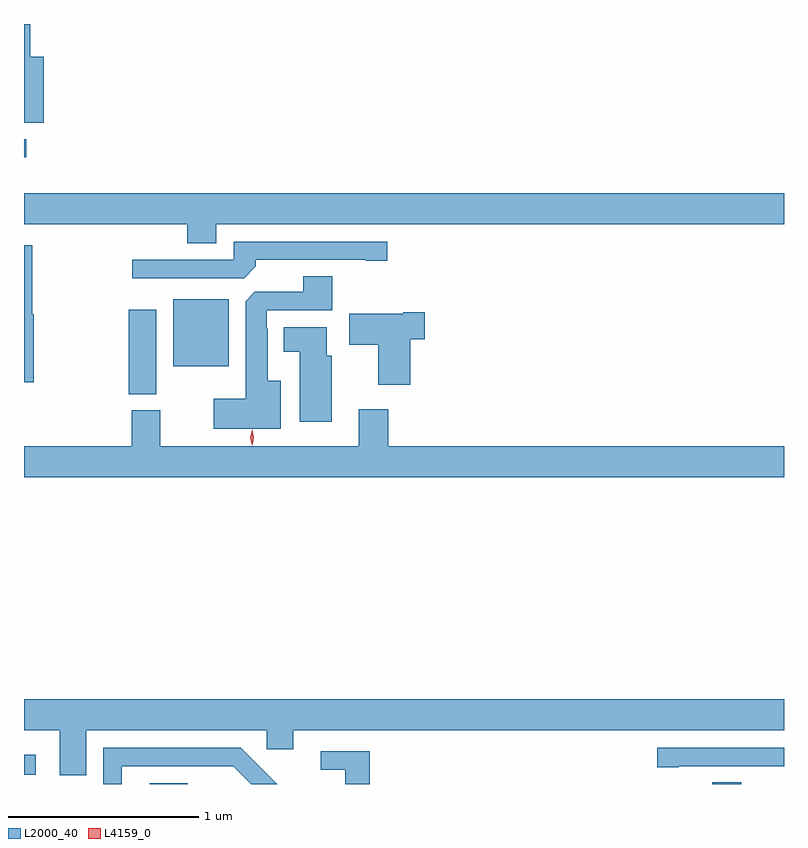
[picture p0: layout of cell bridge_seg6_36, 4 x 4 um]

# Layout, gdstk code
import gdstk
lib = gdstk.Library(unit=1e-6, precision=1e-09)
def R(c, l, rs):  # rectangles x0, y0, x1, y1
    for r in rs: c.add(gdstk.rectangle(r[:2], r[2:], *l))
def P(c, l, *ps):  # polygons
    for p in ps: c.add(gdstk.Polygon(p, *l))
L2000_40 = (2000, 40)
L4159_0 = (4159, 0)

bridge_seg6_36 = lib.new_cell('bridge_seg6_36')
R(bridge_seg6_36, L2000_40, [(1094.754,984.35,1094.952,984.354), (1097.714,984.35,1097.866,984.359), (1094.091,984.399,1094.152,984.505), (1094.642,986.401,1094.788,986.845), (1094.876,986.549,1095.169,986.902), (1094.091,987.648,1094.104,987.744)])
P(bridge_seg6_36, L2000_40, [(1094.195,988.177),(1094.123,988.177),(1094.123,988.35),(1094.091,988.35),(1094.091,987.829),(1094.195,987.829)],
  [(1095.103,987.296),(1098.091,987.296),(1098.091,987.46),(1094.091,987.46),(1094.091,987.296),(1094.951,987.296),(1094.951,987.197),(1095.103,987.197)],
  [(1095.311,987.074),(1095.311,987.108),(1095.89,987.108),(1095.89,987.103),(1096.003,987.103),(1096.003,987.204),(1095.195,987.204),(1095.195,987.108),(1094.661,987.108),(1094.661,987.012),(1095.249,987.012)],
  [(1094.141,986.823),(1094.135,986.823),(1094.135,987.186),(1094.091,987.186),(1094.091,986.465),(1094.141,986.465)],
  [(1095.442,986.473),(1095.373,986.473),(1095.373,986.747),(1095.369,986.747),(1095.369,986.844),(1095.713,986.844),(1095.713,987.023),(1095.56,987.023),(1095.56,986.94),(1095.306,986.94),(1095.257,986.891),(1095.257,986.377),(1095.09,986.377),(1095.09,986.219),(1095.442,986.219)],
  [(1096.124,986.69),(1096.201,986.69),(1096.201,986.832),(1096.088,986.832),(1096.088,986.824),(1095.804,986.824),(1095.804,986.662),(1095.956,986.662),(1095.956,986.451),(1096.124,986.451)],
  [(1095.712,986.604),(1095.685,986.604),(1095.685,986.755),(1095.458,986.755),(1095.458,986.624),(1095.542,986.624),(1095.542,986.256),(1095.712,986.256)],
  [(1098.091,986.128),(1096.007,986.128),(1096.007,986.323),(1095.854,986.323),(1095.854,986.128),(1094.809,986.128),(1094.809,986.316),(1094.657,986.316),(1094.657,986.128),(1094.091,986.128),(1094.091,985.964),(1098.091,985.964)],
  [(1094.419,984.632),(1095.369,984.632),(1095.369,984.534),(1095.508,984.534),(1095.508,984.632),(1098.091,984.632),(1098.091,984.796),(1094.091,984.796),(1094.091,984.632),(1094.279,984.632),(1094.279,984.397),(1094.419,984.397)],
  [(1097.536,984.444),(1098.091,984.444),(1098.091,984.54),(1097.424,984.54),(1097.424,984.439),(1097.536,984.439)],
  [(1094.605,984.444),(1095.193,984.444),(1095.286,984.35),(1095.424,984.35),(1095.324,984.45),(1095.323,984.449),(1095.232,984.54),(1094.508,984.54),(1094.508,984.35),(1094.605,984.35)],
  [(1095.911,984.522),(1095.654,984.522),(1095.654,984.425),(1095.783,984.425),(1095.783,984.35),(1095.911,984.35)])
P(bridge_seg6_36, L4159_0, [(1095.291,986.133),(1095.291,986.133),(1095.281,986.173),(1095.291,986.214),(1095.291,986.214),(1095.291,986.214),(1095.301,986.173),(1095.291,986.133)])

lib.write_gds('bridge_seg6_36.gds')
